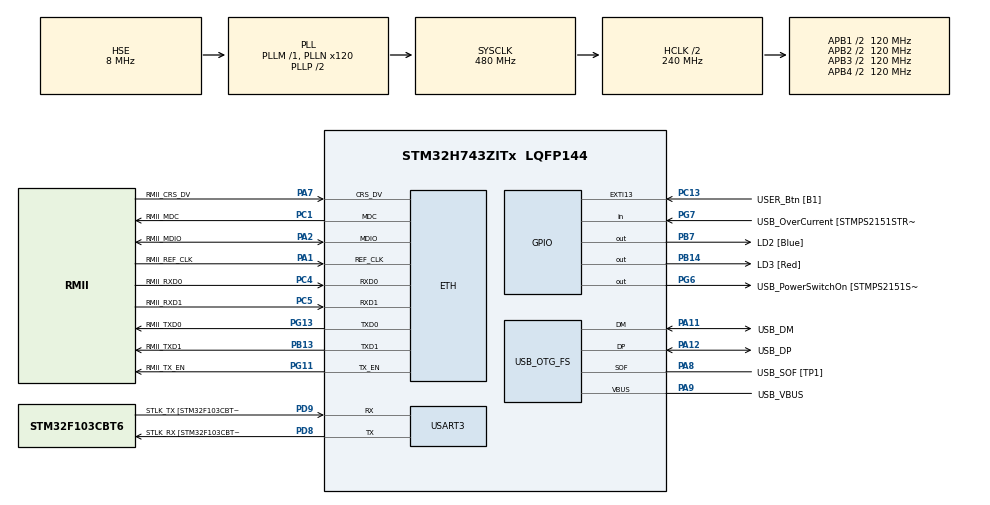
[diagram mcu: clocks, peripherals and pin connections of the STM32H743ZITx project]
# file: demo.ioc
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ARM.CMSIS.5.9.0.CMSISJjCORE=true
ARM.CMSIS.5.9.0.CMSISJjDSP=Source
ARM.CMSIS.5.9.0.CMSISJjNNOoLib=true
ETH.MediaInterface=HAL_ETH_RMII_MODE
Mcu.Family=STM32H7
Mcu.Name=STM32H743ZITx
Mcu.Package=LQFP144
NVIC.PriorityGroup=NVIC_PRIORITYGROUP_4
PA1.GPIO_Label=RMII_REF_CLK
PA1.Mode=RMII
PA1.Signal=ETH_REF_CLK
PA10.GPIO_Label=USB_ID
PA10.Signal=USB_OTG_FS_ID
PA11.GPIO_Label=USB_DM
PA11.Mode=Device_Only
PA11.Signal=USB_OTG_FS_DM
PA12.GPIO_Label=USB_DP
PA12.Mode=Device_Only
PA12.Signal=USB_OTG_FS_DP
PA13\ (JTMS/SWDIO).GPIO_Label=TMS
PA13\ (JTMS/SWDIO).Mode=Trace_Asynchronous_SW
PA13\ (JTMS/SWDIO).Signal=DEBUG_JTMS-SWDIO
PA14\ (JTCK/SWCLK).GPIO_Label=TCK
PA14\ (JTCK/SWCLK).Mode=Trace_Asynchronous_SW
PA14\ (JTCK/SWCLK).Signal=DEBUG_JTCK-SWCLK
PA2.GPIO_Label=RMII_MDIO
PA2.Mode=RMII
PA2.Signal=ETH_MDIO
PA7.GPIO_Label=RMII_CRS_DV
PA7.Mode=RMII
PA7.Signal=ETH_CRS_DV
PA8.GPIO_Label=USB_SOF [TP1]
PA8.Mode=Activate_SOF_FS
PA8.Signal=USB_OTG_FS_SOF
PA9.GPIO_Label=USB_VBUS
PA9.Mode=Activate_VBUS
PA9.Signal=USB_OTG_FS_VBUS
PB13.GPIO_Label=RMII_TXD1
PB13.Mode=RMII
PB13.Signal=ETH_TXD1
PB14.GPIO_Label=LD3 [Red]
PB14.Signal=GPIO_Output
PB3\ (JTDO/TRACESWO).GPIO_Label=SWO
PB3\ (JTDO/TRACESWO).Mode=Trace_Asynchronous_SW
PB3\ (JTDO/TRACESWO).Signal=DEBUG_JTDO-SWO
PB7.GPIO_Label=LD2 [Blue]
PB7.Signal=GPIO_Output
PC1.GPIO_Label=RMII_MDC
PC1.Mode=RMII
PC1.Signal=ETH_MDC
PC13.GPIO_Label=USER_Btn [B1]
PC13.Signal=GPXTI13
PC14-OSC32_IN\ (OSC32_IN).Mode=LSE-External-Oscillator
PC14-OSC32_IN\ (OSC32_IN).Signal=RCC_OSC32_IN
PC15-OSC32_OUT\ (OSC32_OUT).Mode=LSE-External-Oscillator
PC15-OSC32_OUT\ (OSC32_OUT).Signal=RCC_OSC32_OUT
PC4.GPIO_Label=RMII_RXD0
PC4.Mode=RMII
PC4.Signal=ETH_RXD0
PC5.GPIO_Label=RMII_RXD1
PC5.Mode=RMII
PC5.Signal=ETH_RXD1
PD8.GPIO_Label=STLK_RX [STM32F103CBT6_PA3]
PD8.Mode=Asynchronous
PD8.Signal=USART3_TX
PD9.GPIO_Label=STLK_TX [STM32F103CBT6_PA2]
PD9.Mode=Asynchronous
PD9.Signal=USART3_RX
PG11.GPIO_Label=RMII_TX_EN
PG11.Mode=RMII
PG11.Signal=ETH_TX_EN
PG13.GPIO_Label=RMII_TXD0
PG13.Mode=RMII
PG13.Signal=ETH_TXD0
PG6.GPIO_Label=USB_PowerSwitchOn [STMPS2151STR_EN]
PG6.Signal=GPIO_Output
PG7.GPIO_Label=USB_OverCurrent [STMPS2151STR_FAULT]
PG7.Signal=GPIO_Input
PH0-OSC_IN\ (PH0).GPIO_Label=MCO
PH0-OSC_IN\ (PH0).Mode=HSE-External-Oscillator
PH0-OSC_IN\ (PH0).Signal=RCC_OSC_IN
PH1-OSC_OUT\ (PH1).Mode=HSE-External-Oscillator
PH1-OSC_OUT\ (PH1).Signal=RCC_OSC_OUT
ProjectManager.HeapSize=0x200
ProjectManager.StackSize=0x400
ProjectManager.TargetToolchain=STM32CubeIDE
RCC.48MHZClocksFreq_Value=24000000
RCC.ADCFreq_Value=16125000
RCC.AHBFreq_Value=216000000
RCC.APB1CLKDivider=RCC_HCLK_DIV4
RCC.APB1Freq_Value=120000000
RCC.APB1TimFreq_Value=108000000
RCC.APB2CLKDivider=RCC_HCLK_DIV2
RCC.APB2Freq_Value=120000000
RCC.APB2TimFreq_Value=216000000
RCC.APB3Freq_Value=120000000
RCC.APB4Freq_Value=120000000
RCC.CortexFreq_Value=480000000
RCC.D1PPRE=RCC_APB3_DIV2
RCC.D2PPRE1=RCC_APB1_DIV2
RCC.D2PPRE2=RCC_APB2_DIV2
RCC.D3PPRE=RCC_APB4_DIV2
RCC.DIVM1=1
RCC.DIVN1=120
RCC.DIVQ1=15
RCC.HCLKFreq_Value=240000000
RCC.HPRE=RCC_HCLK_DIV2
RCC.HSE_VALUE=8000000
RCC.HSI_VALUE=64000000
RCC.PLLFRACN=0
RCC.PLLM=25
RCC.PLLMUL=RCC_PLL_MUL9
RCC.PLLN=432
RCC.PLLQ=9
RCC.PRESCALERUSB=RCC_USBCLKSOURCE_PLL_DIV1_5
RCC.PWR_Regulator_Voltage_Scale=PWR_REGULATOR_VOLTAGE_SCALE0
RCC.SYSCLKFreq_VALUE=480000000
RCC.SYSCLKSource=RCC_SYSCLKSOURCE_PLLCLK
RCC.SYSCLKSourceVirtual=RCC_SYSCLKSOURCE_PLLCLK
RCC.USBFreq_Value=64000000
RCC.VCOOutputFreq_Value=432000000
USART3.VirtualMode-Asynchronous=VM_ASYNC
USB_OTG_FS.VirtualMode=Device_Only
VP_ARM.CMSIS_VS_CMSISJjCORE_5.6.0_5.9.0.Mode=CMSISJjCORE
VP_ARM.CMSIS_VS_CMSISJjDSP_1.10.0_5.9.0.Mode=CMSISJjDSP
VP_ARM.CMSIS_VS_CMSISJjNNOoLib_3.1.0_5.9.0.Mode=CMSISJjNNOoLib
VP_MEMORYMAP_VS_MEMORYMAP.Mode=CurAppReg
board=NUCLEO-H743ZI

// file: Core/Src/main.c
/* USER CODE BEGIN Header */
/**
  ******************************************************************************
  * @file           : main.c
  * @brief          : Main program body
  ******************************************************************************
  * @attention
  *
  * <h2><center>&copy; Copyright (c) 2024 STMicroelectronics.
  * All rights reserved.</center></h2>
  *
  * This software component is licensed by ST under BSD 3-Clause license,
  * the "License"; You may not use this file except in compliance with the
  * License. You may obtain a copy of the License at:
  *                        opensource.org/licenses/BSD-3-Clause
  *
  ******************************************************************************
  */
/* USER CODE END Header */
#include "main.h"
#include "string.h"

/* USER CODE BEGIN Includes */
#include <assert.h>
#include <stdio.h>
#include "arm_math.h"
#include "arm_nnfunctions.h"
#include "intq-mobilenet-v1.h"
/* USER CODE END Includes */

/* USER CODE BEGIN PD */
//Layer 1	Conv / s2
static const uint8_t conv1_wt[CONV1_KER_DIM * CONV1_KER_DIM * CONV1_IM_CH * CONV1_OUT_CH] = CONV1_WT;
static const int32_t conv1_bias[CONV1_OUT_CH] = CONV1_BIAS;

//Layer 2	Conv dw/ s1
static const uint8_t conv2_wt[CONV2_KER_DIM * CONV2_KER_DIM * 1 * CONV2_OUT_CH] = CONV2_WT;
static const int32_t conv2_bias[CONV2_OUT_CH] = CONV2_BIAS;

//Layer 3	Conv Point/ s1
static const uint8_t conv3_wt[CONV3_KER_DIM * CONV3_KER_DIM * CONV3_IM_CH * CONV3_OUT_CH] = CONV3_WT;
static const int32_t conv3_bias[CONV3_OUT_CH] = CONV3_BIAS;

//Layer 4	Conv dw/ s2
static const uint8_t conv4_wt[CONV4_KER_DIM * CONV4_KER_DIM * 1 * CONV4_OUT_CH] = CONV4_WT;
static const int32_t conv4_bias[ CONV4_OUT_CH] = CONV4_BIAS;

//Layer 5	Conv Point/ s1
static const uint8_t conv5_wt[CONV5_KER_DIM * CONV5_KER_DIM * CONV5_IM_CH * CONV5_OUT_CH] = CONV5_WT;
static const int32_t conv5_bias[CONV5_OUT_CH] = CONV5_BIAS;

//Layer 6	Conv dw/ s1
static const uint8_t conv6_wt[CONV6_KER_DIM * CONV6_KER_DIM * 1 * CONV6_OUT_CH] = CONV6_WT;
static const int32_t conv6_bias[CONV6_OUT_CH] = CONV6_BIAS;

//Layer 7	Conv Point/ s1
static const uint8_t conv7_wt[CONV7_KER_DIM * CONV7_KER_DIM * CONV7_IM_CH * CONV7_OUT_CH] = CONV7_WT;
static const int32_t conv7_bias[CONV7_OUT_CH] = CONV7_BIAS;

//Layer 8	Conv dw/ s2
static const uint8_t conv8_wt[CONV8_KER_DIM * CONV8_KER_DIM * 1 * CONV8_OUT_CH] = CONV8_WT;
static const int32_t conv8_bias[CONV8_OUT_CH] = CONV8_BIAS;

//Layer 9	Conv Point/ s1
static const uint8_t conv9_wt[CONV9_KER_DIM * CONV9_KER_DIM * CONV9_IM_CH * CONV9_OUT_CH] = CONV9_WT;
static const int32_t conv9_bias[CONV9_OUT_CH] = CONV9_BIAS;

//Layer 10	Conv dw/ s1
static const uint8_t conv10_wt[CONV10_KER_DIM * CONV10_KER_DIM * 1 * CONV10_OUT_CH] = CONV10_WT;
static const int32_t conv10_bias[CONV10_OUT_CH] = CONV10_BIAS;

//Layer 11	Conv Point/ s1
static const uint8_t conv11_wt[CONV11_KER_DIM * CONV11_KER_DIM * CONV11_IM_CH * CONV11_OUT_CH] = CONV11_WT;
static const int32_t conv11_bias[CONV11_OUT_CH] = CONV11_BIAS;

//Layer 12	Conv dw/ s2
static const uint8_t conv12_wt[CONV12_KER_DIM * CONV12_KER_DIM * 1 * CONV12_OUT_CH] = CONV12_WT;
static const int32_t conv12_bias[CONV12_OUT_CH] = CONV12_BIAS;

//Layer 13	Conv Point/ s1
static const uint8_t conv13_wt[CONV13_KER_DIM * CONV13_KER_DIM * CONV13_IM_CH * CONV13_OUT_CH] = CONV13_WT;
static const int32_t conv13_bias[CONV13_OUT_CH] = CONV13_BIAS;

//Layer 14	Conv dw/ s1
static const uint8_t conv14_wt[CONV14_KER_DIM * CONV14_KER_DIM * 1 * CONV14_OUT_CH] = CONV14_WT;
static const int32_t conv14_bias[CONV14_OUT_CH] = CONV14_BIAS;

//Layer 15	Conv Point/ s1
static const uint8_t conv15_wt[CONV15_KER_DIM * CONV15_KER_DIM * CONV15_IM_CH * CONV15_OUT_CH] = CONV15_WT;
static const int32_t conv15_bias[CONV15_OUT_CH] = CONV15_BIAS;

//Layer 16	Conv dw/ s1
static const uint8_t conv16_wt[CONV16_KER_DIM * CONV16_KER_DIM * 1 * CONV16_OUT_CH] = CONV16_WT;
static const int32_t conv16_bias[CONV16_OUT_CH] = CONV16_BIAS;

//Layer 17	Conv Point/ s1
static const uint8_t conv17_wt[CONV17_KER_DIM * CONV17_KER_DIM * CONV17_IM_CH * CONV17_OUT_CH] = CONV17_WT;
static const int32_t conv17_bias[CONV17_OUT_CH] = CONV17_BIAS;

//Layer 18	Conv dw/ s1
static const uint8_t conv18_wt[CONV18_KER_DIM * CONV18_KER_DIM * 1 * CONV18_OUT_CH] = CONV18_WT;
static const int32_t conv18_bias[CONV18_OUT_CH] = CONV18_BIAS;

//Layer 19	Conv Point/ s1
static const uint8_t conv19_wt[CONV19_KER_DIM * CONV19_KER_DIM * CONV19_IM_CH * CONV19_OUT_CH] = CONV19_WT;
static const int32_t conv19_bias[CONV19_OUT_CH] = CONV19_BIAS;

//Layer 20	Conv dw/ s1
static const uint8_t conv20_wt[CONV20_KER_DIM * CONV20_KER_DIM * 1 * CONV20_OUT_CH] = CONV20_WT;
static const int32_t conv20_bias[CONV20_OUT_CH] = CONV20_BIAS;

//Layer 21	Conv Point/ s1
static const uint8_t conv21_wt[CONV21_KER_DIM * CONV21_KER_DIM * CONV21_IM_CH * CONV21_OUT_CH] = CONV21_WT;
static const int32_t conv21_bias[CONV21_OUT_CH] = CONV21_BIAS;

//Layer 22	Conv dw/ s1
static const uint8_t conv22_wt[CONV22_KER_DIM * CONV22_KER_DIM * 1 * CONV22_OUT_CH] = CONV22_WT;
static const int32_t conv22_bias[CONV22_OUT_CH] = CONV22_BIAS;

//Layer 23	Conv Point/ s1
static const uint8_t conv23_wt[CONV23_KER_DIM * CONV23_KER_DIM * CONV23_IM_CH * CONV23_OUT_CH] = CONV23_WT;
static const int32_t conv23_bias[CONV23_OUT_CH] = CONV23_BIAS;

//Layer 24	Conv dw/ s2
static const uint8_t conv24_wt[CONV24_KER_DIM * CONV24_KER_DIM * 1 * CONV24_OUT_CH] = CONV24_WT;
static const int32_t conv24_bias[CONV24_OUT_CH] = CONV24_BIAS;

//Layer 25	Conv Point/ s1
static const uint8_t conv25_wt[CONV25_KER_DIM * CONV25_KER_DIM * CONV25_IM_CH * CONV25_OUT_CH] = CONV25_WT;
static const int32_t conv25_bias[CONV25_OUT_CH] = CONV25_BIAS;

//Layer 26	Conv dw/ s1
static const uint8_t conv26_wt[CONV26_KER_DIM * CONV26_KER_DIM * 1 * CONV26_OUT_CH] = CONV26_WT;
static const int32_t conv26_bias[CONV26_OUT_CH] = CONV26_BIAS;

//Layer 27	Conv Point/ s1
static const uint8_t conv27_wt[CONV27_KER_DIM * CONV27_KER_DIM * CONV27_IM_CH * CONV27_OUT_CH] = CONV27_WT;
static const int32_t conv27_bias[CONV27_OUT_CH] = CONV27_BIAS;

//Layer 29 fully connected/ s1
static const uint8_t fc28_wt[FC28_IM_CH*FC28_OUT_CH] = FC28_WT;
static const int32_t fc28_bias[FC28_OUT_CH] = FC28_BIAS;

// Input / Output
#include "160_input_image.h"
static const uint8_t image_data[CONV1_IM_CH * CONV1_IM_DIM * CONV1_IM_DIM] = INPUT_IMAGE;
//uint8_t output_data[IP1_OUT] = {0};

// Tensors Scratch
#define L2_TENSOR_IO_SIZE   (153600)

#define L1_TENSOR_SIZE      (4608)
uint8_t  __attribute__((section (".L2RAM"))) l2_tensor_scratch[L2_TENSOR_IO_SIZE];
int16_t                                      l1_tensor_scratch[L1_TENSOR_SIZE];

void SystemClock_Config(void);

/******** Cycle counter defines  **********/
#define MOBILENET_PROFILE 1
volatile unsigned int cpu_cycles[30];
volatile unsigned int *DWT_CYCCNT = (volatile unsigned int *)0xE0001004; 	// Cycle Counter Register
volatile unsigned int *DWT_CONTROL= (volatile unsigned int *)0xE0001000;	// Counter Control Register
volatile unsigned int *SCB_DEMCR  = (volatile unsigned int *)0xE000EDFC;

#if MOBILENET_PROFILE
#define USR_MEM_BARRIER() \
	do { \
		asm volatile("" ::: "memory");\
	} while (0)

#define USR_CC_ENABLE() \
  do { \
	asm volatile("" ::: "memory"); \
	*SCB_DEMCR = *SCB_DEMCR | 0x01000000;\
	*DWT_CYCCNT = 0; \
	*DWT_CONTROL = *DWT_CONTROL | 1; \
	asm volatile("" ::: "memory"); \
  } while (0)

#define USR_CC_RESET() \
  do { \
	asm volatile("" ::: "memory"); \
	*DWT_CYCCNT = 0; \
	asm volatile("" ::: "memory"); \
  } while (0)

#define USR_GET_CC_TIMESTAMP(x) \
  do { \
	asm volatile("" ::: "memory"); \
	x = (*(volatile unsigned int *) DWT_CYCCNT); \
	asm volatile("" ::: "memory"); \
  } while (0)
#else
#define USR_MEM_BARRIER()
#define USR_CC_ENABLE()
#define USR_CC_RESET()
#define USR_GET_CC_TIMESTAMP(x)
#endif

#define MOBILENET_CHECKSUM 0
#if MOBILENET_CHECKSUM
volatile unsigned int checksums[30];
#define USR_CHECKSUM(x,nb_elements,id) \
  do { \
	asm volatile("" ::: "memory"); \
	checksums[id] = 0; \
	for(int i=0; i< nb_elements;i++) \
		checksums[id]+=x[i]; \
	asm volatile("" ::: "memory"); \
  } while (0)
#else
#define USR_CHECKSUM(x,nb_elements,id)
#endif

/* USER CODE END PD */

#if defined ( __ICCARM__ ) /*!< IAR Compiler */
#pragma location=0x30000000
ETH_DMADescTypeDef  DMARxDscrTab[ETH_RX_DESC_CNT]; /* Ethernet Rx DMA Descriptors */
#pragma location=0x30000080
ETH_DMADescTypeDef  DMATxDscrTab[ETH_TX_DESC_CNT]; /* Ethernet Tx DMA Descriptors */

#elif defined ( __CC_ARM )  /* MDK ARM Compiler */

__attribute__((at(0x30000000))) ETH_DMADescTypeDef  DMARxDscrTab[ETH_RX_DESC_CNT]; /* Ethernet Rx DMA Descriptors */
__attribute__((at(0x30000080))) ETH_DMADescTypeDef  DMATxDscrTab[ETH_TX_DESC_CNT]; /* Ethernet Tx DMA Descriptors */

#elif defined ( __GNUC__ ) /* GNU Compiler */

ETH_DMADescTypeDef DMARxDscrTab[ETH_RX_DESC_CNT] __attribute__((section(".RxDecripSection"))); /* Ethernet Rx DMA Descriptors */
ETH_DMADescTypeDef DMATxDscrTab[ETH_TX_DESC_CNT] __attribute__((section(".TxDecripSection")));   /* Ethernet Tx DMA Descriptors */
#endif

ETH_TxPacketConfig TxConfig;

ETH_HandleTypeDef heth;

UART_HandleTypeDef huart3;

PCD_HandleTypeDef hpcd_USB_OTG_FS;

void SystemClock_Config(void);
static void MX_GPIO_Init(void);
static void MX_ETH_Init(void);
static void MX_USART3_UART_Init(void);
static void MX_USB_OTG_FS_PCD_Init(void);
/* USER CODE BEGIN PFP */
/* Retarget printf to UART */
#ifdef __GNUC__
/* With GCC/RAISONANCE, small printf (option LD Linker->Libraries->Small printf
   set to 'Yes') calls __io_putchar() */
int __io_putchar(int ch)
{
    HAL_UART_Transmit(&huart3, (uint8_t *)&ch, 1, HAL_MAX_DELAY);
    return ch;
}
#else
int fputc(int ch, FILE *f)
{
    HAL_UART_Transmit(&huart3, (uint8_t *)&ch, 1, HAL_MAX_DELAY);
    return ch;
}
#endif /* __GNUC__ */
/* USER CODE END PFP */

int main(void)
{

  /* USER CODE BEGIN 1 */
	SCB_EnableICache(); //Enable I-Cache
	SCB_EnableDCache(); //Enable D-Cache
  /* USER CODE END 1 */

  /* MCU Configuration--------------------------------------------------------*/

  /* Reset of all peripherals, Initializes the Flash interface and the Systick. */
  HAL_Init();

  /* Configure the system clock */
  SystemClock_Config();

  /* Initialize all configured peripherals */
  MX_GPIO_Init();
  MX_ETH_Init();
  MX_USART3_UART_Init();
  MX_USB_OTG_FS_PCD_Init();

  /* Infinite loop */
  while (1)
  {

    /* USER CODE BEGIN 3 */
//		int 	layerId = 0;
//			int 	tensorId = 0;
//			uint8_t *tensorIn  = l2_tensor_scratch;
//			uint8_t *tensorOut = l2_tensor_scratch + L2_TENSOR_IO_SIZE - (CONV1_OUT_DIM*CONV1_OUT_DIM*CONV1_OUT_CH);
//
//			/*Layer 1	Conv / s2
//			*Convolutional
//			*Cycle =c
//			*/
//			USR_CC_ENABLE();
//			USR_CC_RESET();
//			arm_convolve_HWC_asym_uint8(image_data, CONV1_IM_DIM, CONV1_IM_CH,
//									  conv1_wt, CONV1_W_Z, CONV1_IN_Z, CONV1_OUT_Z, CONV1_M_ZERO, CONV1_N_ZERO,
//									  CONV1_OUT_CH, CONV1_KER_DIM,
//									  CONV1_L_PADDING, CONV1_R_PADDING, CONV1_T_PADDING, CONV1_B_PADDING, CONV1_STRIDE, conv1_bias,
//									  tensorOut, CONV1_OUT_DIM, l1_tensor_scratch, NULL);
//			USR_GET_CC_TIMESTAMP(cpu_cycles[layerId]);
//			USR_CHECKSUM(tensorOut,CONV1_IM_CH * CONV1_IM_DIM * CONV1_IM_DIM,layerId); layerId++;
//
//			tensorIn  = tensorOut;
//			if (!tensorId)
//				tensorOut = l2_tensor_scratch;
//			else
//				tensorOut = l2_tensor_scratch + L2_TENSOR_IO_SIZE - (CONV2_OUT_DIM*CONV2_OUT_DIM*CONV2_OUT_CH);
//			tensorId = !tensorId;
//
//			/*Layer 2	Conv dw/ s1
//			*dephtwise
//			*Cycle =
//			*/
//			arm_depthwise_separable_conv_HWC_asym_uint8(tensorIn, CONV2_IM_DIM, CONV2_IM_CH,
//									  conv2_wt, CONV2_W_Z, CONV2_IN_Z, CONV2_OUT_Z, CONV2_M_ZERO, CONV2_N_ZERO,
//									  CONV2_OUT_CH, CONV2_KER_DIM,
//									  CONV2_L_PADDING, CONV2_R_PADDING, CONV2_T_PADDING, CONV2_B_PADDING, CONV2_STRIDE, conv2_bias,
//									  tensorOut, CONV2_OUT_DIM, l1_tensor_scratch, NULL);
//			USR_GET_CC_TIMESTAMP(cpu_cycles[layerId]);
//			USR_CHECKSUM(tensorOut,CONV2_OUT_DIM*CONV2_OUT_DIM*CONV2_OUT_CH,layerId); layerId++;
//
//			tensorIn  = tensorOut;
//			if (!tensorId)
//				tensorOut = l2_tensor_scratch;
//			else
//				tensorOut = l2_tensor_scratch + L2_TENSOR_IO_SIZE - (CONV3_OUT_DIM*CONV3_OUT_DIM*CONV3_OUT_CH);
//			tensorId = !tensorId;
//
//			/*Layer 3	Conv Point/ s1
//			*pointwise
//			*Cycle =
//			*/
//			arm_convolve_HWC_asym_uint8(tensorIn, CONV3_IM_DIM, CONV3_IM_CH,
//									  conv3_wt, CONV3_W_Z, CONV3_IN_Z, CONV3_OUT_Z, CONV3_M_ZERO, CONV3_N_ZERO,
//									  CONV3_OUT_CH, CONV3_KER_DIM,
//									  CONV3_L_PADDING, CONV3_R_PADDING, CONV3_T_PADDING, CONV3_B_PADDING, CONV3_STRIDE, conv3_bias,
//									  tensorOut, CONV3_OUT_DIM, l1_tensor_scratch, NULL);
//
//			USR_GET_CC_TIMESTAMP(cpu_cycles[layerId]);
//			USR_CHECKSUM(tensorOut,CONV3_OUT_DIM*CONV3_OUT_DIM*CONV3_OUT_CH,layerId); layerId++;
//
//			tensorIn  = tensorOut;
//			if (!tensorId)
//				tensorOut = l2_tensor_scratch;
//			else
//				tensorOut = l2_tensor_scratch + L2_TENSOR_IO_SIZE - (CONV4_OUT_DIM*CONV4_OUT_DIM*CONV4_OUT_CH);
//			tensorId = !tensorId;
//
//			/*Layer 4	Conv dw/ s2
//			*dephtwise
//			*Cycle =
//			*/
//			arm_depthwise_separable_conv_HWC_asym_uint8(tensorIn, CONV4_IM_DIM, CONV4_IM_CH,
//									  conv4_wt, CONV4_W_Z, CONV4_IN_Z, CONV4_OUT_Z, CONV4_M_ZERO, CONV4_N_ZERO,
//									  CONV4_OUT_CH, CONV4_KER_DIM,
//									  CONV4_L_PADDING, CONV4_R_PADDING, CONV4_T_PADDING, CONV4_B_PADDING, CONV4_STRIDE, conv4_bias,
//									  tensorOut, CONV4_OUT_DIM, l1_tensor_scratch, NULL);
//
//			USR_GET_CC_TIMESTAMP(cpu_cycles[layerId]);
//			USR_CHECKSUM(tensorOut,CONV4_OUT_DIM*CONV4_OUT_DIM*CONV4_OUT_CH,layerId); layerId++;
//
//			tensorIn  = tensorOut;
//			if (!tensorId)
//				tensorOut = l2_tensor_scratch;
//			else
//				tensorOut = l2_tensor_scratch + L2_TENSOR_IO_SIZE - (CONV5_OUT_DIM*CONV5_OUT_DIM*CONV5_OUT_CH);
//			tensorId = !tensorId;
//
//			/*Layer 5	Conv Point/ s1
//			*pointwise
//			*Cycle =
//			*/
//			arm_convolve_HWC_asym_uint8(tensorIn, CONV5_IM_DIM, CONV5_IM_CH,
//									  conv5_wt, CONV5_W_Z, CONV5_IN_Z, CONV5_OUT_Z, CONV5_M_ZERO, CONV5_N_ZERO,
//									  CONV5_OUT_CH, CONV5_KER_DIM,
//									  CONV5_L_PADDING, CONV5_R_PADDING, CONV5_T_PADDING, CONV5_B_PADDING, CONV5_STRIDE, conv5_bias,
//									  tensorOut, CONV5_OUT_DIM, l1_tensor_scratch, NULL);
//
//			USR_GET_CC_TIMESTAMP(cpu_cycles[layerId]);
//			USR_CHECKSUM(tensorOut,CONV5_OUT_DIM*CONV5_OUT_DIM*CONV5_OUT_CH,layerId); layerId++;
//
//			tensorIn  = tensorOut;
//			if (!tensorId)
//				tensorOut = l2_tensor_scratch;
//			else
//				tensorOut = l2_tensor_scratch + L2_TENSOR_IO_SIZE - (CONV6_OUT_DIM*CONV6_OUT_DIM*CONV6_OUT_CH);
//			tensorId = !tensorId;
//
//			/*Layer 6	Conv dw/ s1
//			*dephtwise
//			*Cycle =
//			*/
//			arm_depthwise_separable_conv_HWC_asym_uint8(tensorIn, CONV6_IM_DIM, CONV6_IM_CH,
//									  conv6_wt, CONV6_W_Z, CONV6_IN_Z, CONV6_OUT_Z, CONV6_M_ZERO, CONV6_N_ZERO,
//									  CONV6_OUT_CH, CONV6_KER_DIM,
//									  CONV6_L_PADDING, CONV6_R_PADDING, CONV6_T_PADDING, CONV6_B_PADDING, CONV6_STRIDE, conv6_bias,
//									  tensorOut, CONV6_OUT_DIM, l1_tensor_scratch, NULL);
//
//			USR_GET_CC_TIMESTAMP(cpu_cycles[layerId]);
//			USR_CHECKSUM(tensorOut,CONV6_OUT_DIM*CONV6_OUT_DIM*CONV6_OUT_CH,layerId); layerId++;
//
//			tensorIn  = tensorOut;
//			if (!tensorId)
//				tensorOut = l2_tensor_scratch;
//			else
//				tensorOut = l2_tensor_scratch + L2_TENSOR_IO_SIZE - (CONV7_OUT_DIM*CONV7_OUT_DIM*CONV7_OUT_CH);
//			tensorId = !tensorId;
//
//			/*Layer 7	Conv Point/ s1
//			*pointwise
//			*Cycle =
//			*/
//			arm_convolve_HWC_asym_uint8(tensorIn, CONV7_IM_DIM, CONV7_IM_CH,
//									  conv7_wt, CONV7_W_Z, CONV7_IN_Z, CONV7_OUT_Z, CONV7_M_ZERO, CONV7_N_ZERO,
//									  CONV7_OUT_CH, CONV7_KER_DIM,
//									  CONV7_L_PADDING, CONV7_R_PADDING, CONV7_T_PADDING, CONV7_B_PADDING, CONV7_STRIDE, conv7_bias,
//									  tensorOut, CONV7_OUT_DIM, l1_tensor_scratch, NULL);
//
//			USR_GET_CC_TIMESTAMP(cpu_cycles[layerId]);
//			USR_CHECKSUM(tensorOut,CONV7_OUT_DIM*CONV7_OUT_DIM*CONV7_OUT_CH,layerId); layerId++;
//
//			tensorIn  = tensorOut;
//			if (!tensorId)
//				tensorOut = l2_tensor_scratch;
//			else
//				tensorOut = l2_tensor_scratch + L2_TENSOR_IO_SIZE - (CONV8_OUT_DIM*CONV8_OUT_DIM*CONV8_OUT_CH);
//			tensorId = !tensorId;
//
//			/*Layer 8	Conv dw/ s2
//			*dephtwise
//			*Cycle =
//			*/
//			arm_depthwise_separable_conv_HWC_asym_uint8(tensorIn, CONV8_IM_DIM, CONV8_IM_CH,
//									  conv8_wt, CONV8_W_Z, CONV8_IN_Z, CONV8_OUT_Z, CONV8_M_ZERO, CONV8_N_ZERO,
//									  CONV8_OUT_CH, CONV8_KER_DIM,
//									  CONV8_L_PADDING, CONV8_R_PADDING, CONV8_T_PADDING, CONV8_B_PADDING, CONV8_STRIDE, conv8_bias,
//									  tensorOut, CONV8_OUT_DIM, l1_tensor_scratch, NULL);
//
//			USR_GET_CC_TIMESTAMP(cpu_cycles[layerId]);
//			USR_CHECKSUM(tensorOut,CONV8_OUT_DIM*CONV8_OUT_DIM*CONV8_OUT_CH,layerId); layerId++;
//
//			tensorIn  = tensorOut;
//			if (!tensorId)
//				tensorOut = l2_tensor_scratch;
//			else
//				tensorOut = l2_tensor_scratch + L2_TENSOR_IO_SIZE - (CONV9_OUT_DIM*CONV9_OUT_DIM*CONV9_OUT_CH);
//			tensorId = !tensorId;
//
//			/*Layer 9	Conv Point/ s1
//			*pointwise
//			*Cycle =
//			*/
//			arm_convolve_HWC_asym_uint8(tensorIn, CONV9_IM_DIM, CONV9_IM_CH,
//									  conv9_wt, CONV9_W_Z, CONV9_IN_Z, CONV9_OUT_Z, CONV9_M_ZERO, CONV9_N_ZERO,
//									  CONV9_OUT_CH, CONV9_KER_DIM,
//									  CONV9_L_PADDING, CONV9_R_PADDING, CONV9_T_PADDING, CONV9_B_PADDING, CONV9_STRIDE, conv9_bias,
//									  tensorOut, CONV9_OUT_DIM, l1_tensor_scratch, NULL);
//
//			USR_GET_CC_TIMESTAMP(cpu_cycles[layerId]);
//			USR_CHECKSUM(tensorOut,CONV9_OUT_DIM*CONV9_OUT_DIM*CONV9_OUT_CH,layerId); layerId++;
//
//			tensorIn  = tensorOut;
//			if (!tensorId)
//				tensorOut = l2_tensor_scratch;
//			else
//				tensorOut = l2_tensor_scratch + L2_TENSOR_IO_SIZE - (CONV10_OUT_DIM*CONV10_OUT_DIM*CONV10_OUT_CH);
//			tensorId = !tensorId;
//
//			/*Layer 10	Conv dw/ s1
//			*dephtwise
//			*Cycle =
//			*/
//			arm_depthwise_separable_conv_HWC_asym_uint8(tensorIn, CONV10_IM_DIM, CONV10_IM_CH,
//									  conv10_wt, CONV10_W_Z, CONV10_IN_Z, CONV10_OUT_Z, CONV10_M_ZERO, CONV10_N_ZERO,
//									  CONV10_OUT_CH, CONV10_KER_DIM,
//									  CONV10_L_PADDING, CONV10_R_PADDING, CONV10_T_PADDING, CONV10_B_PADDING, CONV10_STRIDE, conv10_bias,
//									  tensorOut, CONV10_OUT_DIM, l1_tensor_scratch, NULL);
//
//			USR_GET_CC_TIMESTAMP(cpu_cycles[layerId]);
//			USR_CHECKSUM(tensorOut,CONV10_OUT_DIM*CONV10_OUT_DIM*CONV10_OUT_CH,layerId); layerId++;
//
//			tensorIn  = tensorOut;
//			if (!tensorId)
//				tensorOut = l2_tensor_scratch;
//			else
//				tensorOut = l2_tensor_scratch + L2_TENSOR_IO_SIZE - (CONV11_OUT_DIM*CONV11_OUT_DIM*CONV11_OUT_CH);
//			tensorId = !tensorId;
//
//			/*Layer 11	Conv Point/ s1
//			*pointwise
//			*Cycle =
//			*/
//			arm_convolve_HWC_asym_uint8(tensorIn, CONV11_IM_DIM, CONV11_IM_CH,
//										  conv11_wt, CONV11_W_Z, CONV11_IN_Z, CONV11_OUT_Z, CONV11_M_ZERO, CONV11_N_ZERO,
//										  CONV11_OUT_CH, CONV11_KER_DIM,
//										  CONV11_L_PADDING, CONV11_R_PADDING, CONV11_T_PADDING, CONV11_B_PADDING, CONV11_STRIDE, conv11_bias,
//										  tensorOut, CONV11_OUT_DIM, l1_tensor_scratch, NULL);
//
//			USR_GET_CC_TIMESTAMP(cpu_cycles[layerId]);
//			USR_CHECKSUM(tensorOut,CONV11_OUT_DIM*CONV11_OUT_DIM*CONV11_OUT_CH,layerId); layerId++;
//
//			tensorIn  = tensorOut;
//			if (!tensorId)
//				tensorOut = l2_tensor_scratch;
//			else
//				tensorOut = l2_tensor_scratch + L2_TENSOR_IO_SIZE - (CONV12_OUT_DIM*CONV12_OUT_DIM*CONV12_OUT_CH);
//			tensorId = !tensorId;
//
//			/*Layer 12	Conv dw/ s2
//			*dephtwise
//			*Cycle =
//			*/
//			arm_depthwise_separable_conv_HWC_asym_uint8(tensorIn, CONV12_IM_DIM, CONV12_IM_CH,
//										  conv12_wt, CONV12_W_Z, CONV12_IN_Z, CONV12_OUT_Z, CONV12_M_ZERO, CONV12_N_ZERO,
//										  CONV12_OUT_CH, CONV12_KER_DIM,
//										  CONV12_L_PADDING, CONV12_R_PADDING, CONV12_T_PADDING, CONV12_B_PADDING, CONV12_STRIDE, conv12_bias,
//										  tensorOut, CONV12_OUT_DIM, l1_tensor_scratch, NULL);
//
//			USR_GET_CC_TIMESTAMP(cpu_cycles[layerId]);
//			USR_CHECKSUM(tensorOut,CONV12_OUT_DIM*CONV12_OUT_DIM*CONV12_OUT_CH,layerId); layerId++;
//
//			tensorIn  = tensorOut;
//			if (!tensorId)
//				tensorOut = l2_tensor_scratch;
//			else
//				tensorOut = l2_tensor_scratch + L2_TENSOR_IO_SIZE - (CONV13_OUT_DIM*CONV13_OUT_DIM*CONV13_OUT_CH);
//			tensorId = !tensorId;
//
//			/*Layer 13	Conv Point/ s1
//			*pointwise
//			*Cycle =
//			*/
//			arm_convolve_HWC_asym_uint8(tensorIn, CONV13_IM_DIM, CONV13_IM_CH,
//										  conv13_wt, CONV13_W_Z, CONV13_IN_Z, CONV13_OUT_Z, CONV13_M_ZERO, CONV13_N_ZERO,
//										  CONV13_OUT_CH, CONV13_KER_DIM,
//										  CONV13_L_PADDING, CONV13_R_PADDING, CONV13_T_PADDING, CONV13_B_PADDING, CONV13_STRIDE, conv13_bias,
//										  tensorOut, CONV13_OUT_DIM, l1_tensor_scratch, NULL);
//
//			USR_GET_CC_TIMESTAMP(cpu_cycles[layerId]);
//			USR_CHECKSUM(tensorOut,CONV13_OUT_DIM*CONV13_OUT_DIM*CONV13_OUT_CH,layerId); layerId++;
//
//			tensorIn  = tensorOut;
//			if (!tensorId)
//				tensorOut = l2_tensor_scratch;
//			else
//				tensorOut = l2_tensor_scratch + L2_TENSOR_IO_SIZE - (CONV14_OUT_DIM*CONV14_OUT_DIM*CONV14_OUT_CH);
//			tensorId = !tensorId;
//
//			/*Layer 14	Conv dw/ s1
//			*dephtwise
//			*Cycle =
//			*/
//			arm_depthwise_separable_conv_HWC_asym_uint8(tensorIn, CONV14_IM_DIM, CONV14_IM_CH,
//										  conv14_wt, CONV14_W_Z, CONV14_IN_Z, CONV14_OUT_Z, CONV14_M_ZERO, CONV14_N_ZERO,
//										  CONV14_OUT_CH, CONV14_KER_DIM,
//										  CONV14_L_PADDING, CONV14_R_PADDING, CONV14_T_PADDING, CONV14_B_PADDING, CONV14_STRIDE, conv14_bias,
//										  tensorOut, CONV14_OUT_DIM, l1_tensor_scratch, NULL);
//
//			USR_GET_CC_TIMESTAMP(cpu_cycles[layerId]);
//			USR_CHECKSUM(tensorOut,CONV14_OUT_DIM*CONV14_OUT_DIM*CONV14_OUT_CH,layerId); layerId++;
//
//			tensorIn  = tensorOut;
//			if (!tensorId)
//				tensorOut = l2_tensor_scratch;
//			else
//				tensorOut = l2_tensor_scratch + L2_TENSOR_IO_SIZE - (CONV15_OUT_DIM*CONV15_OUT_DIM*CONV15_OUT_CH);
//			tensorId = !tensorId;
//
//			/*Layer 15	Conv Point/ s1
//			*pointwise
//			*Cycle =
//			*/
//			arm_convolve_HWC_asym_uint8(tensorIn, CONV15_IM_DIM, CONV15_IM_CH,
//										  conv15_wt, CONV15_W_Z, CONV15_IN_Z, CONV15_OUT_Z, CONV15_M_ZERO, CONV15_N_ZERO,
//										  CONV15_OUT_CH, CONV15_KER_DIM,
//										  CONV15_L_PADDING, CONV15_R_PADDING, CONV15_T_PADDING, CONV15_B_PADDING, CONV15_STRIDE, conv15_bias,
//										  tensorOut, CONV15_OUT_DIM, l1_tensor_scratch, NULL);
//
//			USR_GET_CC_TIMESTAMP(cpu_cycles[layerId]);
//			USR_CHECKSUM(tensorOut,CONV15_OUT_DIM*CONV15_OUT_DIM*CONV15_OUT_CH,layerId); layerId++;
//
//			tensorIn  = tensorOut;
//			if (!tensorId)
//				tensorOut = l2_tensor_scratch;
//			else
//				tensorOut = l2_tensor_scratch + L2_TENSOR_IO_SIZE - (CONV16_OUT_DIM*CONV16_OUT_DIM*CONV16_OUT_CH);
//			tensorId = !tensorId;
//
//			/*Layer 16	Conv dw/ s1
//			*dephtwise
//			*Cycle =
//			*/
//			arm_depthwise_separable_conv_HWC_asym_uint8(tensorIn, CONV16_IM_DIM, CONV16_IM_CH,
//										  conv16_wt, CONV16_W_Z, CONV16_IN_Z, CONV16_OUT_Z, CONV16_M_ZERO, CONV16_N_ZERO,
//										  CONV16_OUT_CH, CONV16_KER_DIM,
//										  CONV16_L_PADDING, CONV16_R_PADDING, CONV16_T_PADDING, CONV16_B_PADDING, CONV16_STRIDE, conv16_bias,
//										  tensorOut, CONV16_OUT_DIM, l1_tensor_scratch, NULL);
//
//			USR_GET_CC_TIMESTAMP(cpu_cycles[layerId]);
//			USR_CHECKSUM(tensorOut,CONV16_OUT_DIM*CONV16_OUT_DIM*CONV16_OUT_CH,layerId); layerId++;
//
//			tensorIn  = tensorOut;
//			if (!tensorId)
//				tensorOut = l2_tensor_scratch;
//			else
//				tensorOut = l2_tensor_scratch + L2_TENSOR_IO_SIZE - (CONV17_OUT_DIM*CONV17_OUT_DIM*CONV17_OUT_CH);
//			tensorId = !tensorId;
//
//			/*Layer 17	Conv Point/ s1
//			*pointwise
//			*Cycle =
//			*/
//			arm_convolve_HWC_asym_uint8(tensorIn, CONV17_IM_DIM, CONV17_IM_CH,
//										  conv17_wt, CONV17_W_Z, CONV17_IN_Z, CONV17_OUT_Z, CONV17_M_ZERO, CONV17_N_ZERO,
//										  CONV17_OUT_CH, CONV17_KER_DIM,
//										  CONV17_L_PADDING, CONV17_R_PADDING, CONV17_T_PADDING, CONV17_B_PADDING, CONV17_STRIDE, conv17_bias,
//										  tensorOut, CONV17_OUT_DIM, l1_tensor_scratch, NULL);
//
//			USR_GET_CC_TIMESTAMP(cpu_cycles[layerId]);
//			USR_CHECKSUM(tensorOut,CONV17_OUT_DIM*CONV17_OUT_DIM*CONV17_OUT_CH,layerId); layerId++;
//
//			tensorIn  = tensorOut;
//			if (!tensorId)
//				tensorOut = l2_tensor_scratch;
//			else
//				tensorOut = l2_tensor_scratch + L2_TENSOR_IO_SIZE - (CONV18_OUT_DIM*CONV18_OUT_DIM*CONV18_OUT_CH);
//			tensorId = !tensorId;
//
//			/*Layer 18	Conv dw/ s1
//			*dephtwise
//			*Cycle =
//			*/
//			arm_depthwise_separable_conv_HWC_asym_uint8(tensorIn, CONV18_IM_DIM, CONV18_IM_CH,
//										  conv18_wt, CONV18_W_Z, CONV18_IN_Z, CONV18_OUT_Z, CONV18_M_ZERO, CONV18_N_ZERO,
//										  CONV18_OUT_CH, CONV18_KER_DIM,
//										  CONV18_L_PADDING, CONV18_R_PADDING, CONV18_T_PADDING, CONV18_B_PADDING, CONV18_STRIDE, conv18_bias,
//										  tensorOut, CONV18_OUT_DIM, l1_tensor_scratch, NULL);
//
//			USR_GET_CC_TIMESTAMP(cpu_cycles[layerId]);
//			USR_CHECKSUM(tensorOut,CONV18_OUT_DIM*CONV18_OUT_DIM*CONV18_OUT_CH,layerId); layerId++;
//			tensorIn  = tensorOut;
//			if (!tensorId)
//				tensorOut = l2_tensor_scratch;
//			else
//				tensorOut = l2_tensor_scratch + L2_TENSOR_IO_SIZE - (CONV19_OUT_DIM*CONV19_OUT_DIM*CONV19_OUT_CH);
//			tensorId = !tensorId;
//
//			/*Layer 19	Conv Point/ s1
//			*pointwise
//			*Cycle =
//			*/
//			arm_convolve_HWC_asym_uint8(tensorIn, CONV19_IM_DIM, CONV19_IM_CH,
//										  conv19_wt, CONV19_W_Z, CONV19_IN_Z, CONV19_OUT_Z, CONV19_M_ZERO, CONV19_N_ZERO,
//										  CONV19_OUT_CH, CONV19_KER_DIM,
//										  CONV19_L_PADDING, CONV19_R_PADDING, CONV19_T_PADDING, CONV19_B_PADDING, CONV19_STRIDE, conv19_bias,
//										  tensorOut, CONV19_OUT_DIM, l1_tensor_scratch, NULL);
//
//			USR_GET_CC_TIMESTAMP(cpu_cycles[layerId]);
//			USR_CHECKSUM(tensorOut,CONV19_OUT_DIM*CONV19_OUT_DIM*CONV19_OUT_CH,layerId); layerId++;
//
//			tensorIn  = tensorOut;
//			if (!tensorId)
//				tensorOut = l2_tensor_scratch;
//			else
//				tensorOut = l2_tensor_scratch + L2_TENSOR_IO_SIZE - (CONV20_OUT_DIM*CONV20_OUT_DIM*CONV20_OUT_CH);
//			tensorId = !tensorId;
//
//			/*Layer 20	Conv dw/ s1
//			*dephtwise
//			*Cycle =
//			*/
//			arm_depthwise_separable_conv_HWC_asym_uint8(tensorIn, CONV20_IM_DIM, CONV20_IM_CH,
//										  conv20_wt, CONV20_W_Z, CONV20_IN_Z, CONV20_OUT_Z, CONV20_M_ZERO, CONV20_N_ZERO,
//										  CONV20_OUT_CH, CONV20_KER_DIM,
//										  CONV20_L_PADDING, CONV20_R_PADDING, CONV20_T_PADDING, CONV20_B_PADDING, CONV20_STRIDE, conv20_bias,
//										  tensorOut, CONV20_OUT_DIM, l1_tensor_scratch, NULL);
//
//			USR_GET_CC_TIMESTAMP(cpu_cycles[layerId]);
//			USR_CHECKSUM(tensorOut,CONV20_OUT_DIM*CONV20_OUT_DIM*CONV20_OUT_CH,layerId); layerId++;
//
//			tensorIn  = tensorOut;
//			if (!tensorId)
//				tensorOut = l2_tensor_scratch;
//			else
//				tensorOut = l2_tensor_scratch + L2_TENSOR_IO_SIZE - (CONV21_OUT_DIM*CONV21_OUT_DIM*CONV21_OUT_CH);
//			tensorId = !tensorId;
//
//			/*Layer 21	Conv Point/ s1
//			*pointwise
//			*Cycle =
//			*/
//			arm_convolve_HWC_asym_uint8(tensorIn, CONV21_IM_DIM, CONV21_IM_CH,
//										  conv21_wt, CONV21_W_Z, CONV21_IN_Z, CONV21_OUT_Z, CONV21_M_ZERO, CONV21_N_ZERO,
//										  CONV21_OUT_CH, CONV21_KER_DIM,
//										  CONV21_L_PADDING, CONV21_R_PADDING, CONV21_T_PADDING, CONV21_B_PADDING, CONV21_STRIDE, conv21_bias,
//										  tensorOut, CONV21_OUT_DIM, l1_tensor_scratch, NULL);
//
//			USR_GET_CC_TIMESTAMP(cpu_cycles[layerId]);
//			USR_CHECKSUM(tensorOut,CONV21_OUT_DIM*CONV21_OUT_DIM*CONV21_OUT_CH,layerId); layerId++;
//
//			tensorIn  = tensorOut;
//			if (!tensorId)
//				tensorOut = l2_tensor_scratch;
//			else
//				tensorOut = l2_tensor_scratch + L2_TENSOR_IO_SIZE - (CONV22_OUT_DIM*CONV22_OUT_DIM*CONV22_OUT_CH);
//			tensorId = !tensorId;
//
//			/*Layer 22	Conv dw/ s1
//			*dephtwise
//			*Cycle =
//			*/
//			arm_depthwise_separable_conv_HWC_asym_uint8(tensorIn, CONV22_IM_DIM, CONV22_IM_CH,
//										  conv22_wt, CONV22_W_Z, CONV22_IN_Z, CONV22_OUT_Z, CONV22_M_ZERO, CONV22_N_ZERO,
//										  CONV22_OUT_CH, CONV22_KER_DIM,
//										  CONV22_L_PADDING, CONV22_R_PADDING, CONV22_T_PADDING, CONV22_B_PADDING, CONV22_STRIDE, conv22_bias,
//										  tensorOut, CONV22_OUT_DIM, l1_tensor_scratch, NULL);
//
//			USR_GET_CC_TIMESTAMP(cpu_cycles[layerId]);
//			USR_CHECKSUM(tensorOut,CONV22_OUT_DIM*CONV22_OUT_DIM*CONV22_OUT_CH,layerId); layerId++;
//
//			tensorIn  = tensorOut;
//			if (!tensorId)
//				tensorOut = l2_tensor_scratch;
//			else
//				tensorOut = l2_tensor_scratch + L2_TENSOR_IO_SIZE - (CONV23_OUT_DIM*CONV23_OUT_DIM*CONV23_OUT_CH);
//			tensorId = !tensorId;
//
//			/*Layer 23	Conv Point/ s1
//			*pointwise
//			*Cycle =
//			*/
//			arm_convolve_HWC_asym_uint8(tensorIn, CONV23_IM_DIM, CONV23_IM_CH,
//										  conv23_wt, CONV23_W_Z, CONV23_IN_Z, CONV23_OUT_Z, CONV23_M_ZERO, CONV23_N_ZERO,
//										  CONV23_OUT_CH, CONV23_KER_DIM,
//										  CONV23_L_PADDING, CONV23_R_PADDING, CONV23_T_PADDING, CONV23_B_PADDING, CONV23_STRIDE, conv23_bias,
//										  tensorOut, CONV23_OUT_DIM, l1_tensor_scratch, NULL);
//
//			USR_GET_CC_TIMESTAMP(cpu_cycles[layerId]);
//			USR_CHECKSUM(tensorOut,CONV23_OUT_DIM*CONV23_OUT_DIM*CONV23_OUT_CH,layerId); layerId++;
//
//			tensorIn  = tensorOut;
//			if (!tensorId)
//				tensorOut = l2_tensor_scratch;
//			else
//				tensorOut = l2_tensor_scratch + L2_TENSOR_IO_SIZE - (CONV24_OUT_DIM*CONV24_OUT_DIM*CONV24_OUT_CH);
//			tensorId = !tensorId;
//
//			/*Layer 24	Conv dw/ s2
//			*dephtwise
//			*Cycle =
//			*/
//			arm_depthwise_separable_conv_HWC_asym_uint8(tensorIn, CONV24_IM_DIM, CONV24_IM_CH,
//										  conv24_wt, CONV24_W_Z, CONV24_IN_Z, CONV24_OUT_Z, CONV24_M_ZERO, CONV24_N_ZERO,
//										  CONV24_OUT_CH, CONV24_KER_DIM,
//										  CONV24_L_PADDING, CONV24_R_PADDING, CONV24_T_PADDING, CONV24_B_PADDING, CONV24_STRIDE, conv24_bias,
//										  tensorOut, CONV24_OUT_DIM, l1_tensor_scratch, NULL);
//
//			USR_GET_CC_TIMESTAMP(cpu_cycles[layerId]);
//			USR_CHECKSUM(tensorOut,CONV24_OUT_DIM*CONV24_OUT_DIM*CONV24_OUT_CH,layerId); layerId++;
//
//			tensorIn  = tensorOut;
//			if (!tensorId)
//				tensorOut = l2_tensor_scratch;
//			else
//				tensorOut = l2_tensor_scratch + L2_TENSOR_IO_SIZE - (CONV25_OUT_DIM*CONV25_OUT_DIM*CONV25_OUT_CH);
//			tensorId = !tensorId;
//
//			/*Layer 25	Conv Point/ s1
//			*pointwise
//			*Cycle =
//			*/
//			arm_convolve_HWC_asym_uint8(tensorIn, CONV25_IM_DIM, CONV25_IM_CH,
//										  conv25_wt, CONV25_W_Z, CONV25_IN_Z, CONV25_OUT_Z, CONV25_M_ZERO, CONV25_N_ZERO,
//										  CONV25_OUT_CH, CONV25_KER_DIM,
//										  CONV25_L_PADDING, CONV25_R_PADDING, CONV25_T_PADDING, CONV25_B_PADDING, CONV25_STRIDE, conv25_bias,
//										  tensorOut, CONV25_OUT_DIM, l1_tensor_scratch, NULL);
//
//			USR_GET_CC_TIMESTAMP(cpu_cycles[layerId]);
//			USR_CHECKSUM(tensorOut,CONV25_OUT_DIM*CONV25_OUT_DIM*CONV25_OUT_CH,layerId); layerId++;
//
//			tensorIn  = tensorOut;
//			if (!tensorId)
//				tensorOut = l2_tensor_scratch;
//			else
//				tensorOut = l2_tensor_scratch + L2_TENSOR_IO_SIZE - (CONV26_OUT_DIM*CONV26_OUT_DIM*CONV26_OUT_CH);
//			tensorId = !tensorId;
//
//			/*Layer 26	Conv dw/ s1
//			*dephtwise
//			*Cycle =
//			*/
//			arm_depthwise_separable_conv_HWC_asym_uint8(tensorIn, CONV26_IM_DIM, CONV26_IM_CH,
//										  conv26_wt, CONV26_W_Z, CONV26_IN_Z, CONV26_OUT_Z, CONV26_M_ZERO, CONV26_N_ZERO,
//										  CONV26_OUT_CH, CONV26_KER_DIM,
//										  CONV26_L_PADDING, CONV26_R_PADDING, CONV26_T_PADDING, CONV26_B_PADDING, CONV26_STRIDE, conv26_bias,
//										  tensorOut, CONV26_OUT_DIM, l1_tensor_scratch, NULL);
//
//			USR_GET_CC_TIMESTAMP(cpu_cycles[layerId]);
//			USR_CHECKSUM(tensorOut,CONV26_OUT_DIM*CONV26_OUT_DIM*CONV26_OUT_CH,layerId); layerId++;
//
//			tensorIn  = tensorOut;
//			if (!tensorId)
//				tensorOut = l2_tensor_scratch;
//			else
//				tensorOut = l2_tensor_scratch + L2_TENSOR_IO_SIZE - (CONV27_OUT_DIM*CONV27_OUT_DIM*CONV27_OUT_CH);
//			tensorId = !tensorId;
//
//			/*Layer 27	Conv Point/ s1
//			*pointwise
//			*Cycle =
//			*/
//			arm_convolve_HWC_asym_uint8(tensorIn, CONV27_IM_DIM, CONV27_IM_CH,
//										  conv27_wt, CONV27_W_Z, CONV27_IN_Z, CONV27_OUT_Z, CONV27_M_ZERO, CONV27_N_ZERO,
//										  CONV27_OUT_CH, CONV27_KER_DIM,
//										  CONV27_L_PADDING, CONV27_R_PADDING, CONV27_T_PADDING, CONV27_B_PADDING, CONV27_STRIDE, conv27_bias,
//										  tensorOut, CONV27_OUT_DIM, l1_tensor_scratch, NULL);
//
//			USR_GET_CC_TIMESTAMP(cpu_cycles[layerId]);
//			USR_CHECKSUM(tensorOut,CONV27_OUT_DIM*CONV27_OUT_DIM*CONV27_OUT_CH,layerId); layerId++;
//
//			tensorIn  = tensorOut;
//			if (!tensorId)
//				tensorOut = l2_tensor_scratch;
//			else
//				tensorOut = l2_tensor_scratch + L2_TENSOR_IO_SIZE - (FC28_IM_CH);
//			tensorId = !tensorId;
//
//			/*Layer 28	Avgpool */
//			arm_avepool_asym_uint8_HWC(tensorIn, CONV27_OUT_DIM, CONV27_OUT_CH, 5, 0, 5, 1, l1_tensor_scratch, tensorOut);
//
//			USR_GET_CC_TIMESTAMP(cpu_cycles[layerId]);
//			USR_CHECKSUM(tensorOut,FC28_IM_CH,layerId); layerId++;
//
//			tensorIn  = tensorOut;
//			if (!tensorId)
//				tensorOut = l2_tensor_scratch;
//			else
//				tensorOut = l2_tensor_scratch + L2_TENSOR_IO_SIZE - (FC28_OUT_CH);
//			tensorId = !tensorId;
//
//			/*Layer 29	FC
//			*Cycle =
//			*/
//			arm_fully_connected_asym_uint8(tensorIn, fc28_wt, FC28_IM_CH, FC28_OUT_CH, FC28_W_Z, FC28_IN_Z, FC28_OUT_Z, FC28_M_ZERO, FC28_N_ZERO, fc28_bias, tensorOut, l1_tensor_scratch);
//
//			USR_GET_CC_TIMESTAMP(cpu_cycles[layerId]);
//			USR_CHECKSUM(tensorOut,FC28_OUT_CH,layerId); layerId++;
//
//			USR_MEM_BARRIER();
//			int top5[5];
//			int top5_score[5];
//			for (int i=0; i<5; i++){
//				int max=0;
//				for(int ii=0; ii<FC28_OUT_CH; ii++)
//					if (tensorOut[ii] > max){
//						top5[i] = ii;
//						top5_score[i] = tensorOut[ii];
//						max= tensorOut[ii];
//					}
//				tensorOut[top5[i]]=0;
//			}
//			USR_GET_CC_TIMESTAMP(cpu_cycles[layerId]);
//
//			for (int i = 0; i < 5; i++){
//			      printf("%d: %d\n", top5[i], top5_score[i]);
//			}
  }
  /* USER CODE END 3 */
}

void SystemClock_Config(void)
{
  RCC_OscInitTypeDef RCC_OscInitStruct = {0};
  RCC_ClkInitTypeDef RCC_ClkInitStruct = {0};

  /** Supply configuration update enable
  */
  HAL_PWREx_ConfigSupply(PWR_LDO_SUPPLY);

  /** Configure the main internal regulator output voltage
  */
  __HAL_PWR_VOLTAGESCALING_CONFIG(PWR_REGULATOR_VOLTAGE_SCALE1);

  while(!__HAL_PWR_GET_FLAG(PWR_FLAG_VOSRDY)) {}

  __HAL_RCC_SYSCFG_CLK_ENABLE();
  __HAL_PWR_VOLTAGESCALING_CONFIG(PWR_REGULATOR_VOLTAGE_SCALE0);

  while(!__HAL_PWR_GET_FLAG(PWR_FLAG_VOSRDY)) {}

  /** Initializes the RCC Oscillators according to the specified parameters
  * in the RCC_OscInitTypeDef structure.
  */
  RCC_OscInitStruct.OscillatorType = RCC_OSCILLATORTYPE_HSE;
  RCC_OscInitStruct.HSEState = RCC_HSE_ON;
  RCC_OscInitStruct.PLL.PLLState = RCC_PLL_ON;
  RCC_OscInitStruct.PLL.PLLSource = RCC_PLLSOURCE_HSE;
  RCC_OscInitStruct.PLL.PLLM = 1;
  RCC_OscInitStruct.PLL.PLLN = 120;
  RCC_OscInitStruct.PLL.PLLP = 2;
  RCC_OscInitStruct.PLL.PLLQ = 15;
  RCC_OscInitStruct.PLL.PLLR = 2;
  RCC_OscInitStruct.PLL.PLLRGE = RCC_PLL1VCIRANGE_3;
  RCC_OscInitStruct.PLL.PLLVCOSEL = RCC_PLL1VCOWIDE;
  RCC_OscInitStruct.PLL.PLLFRACN = 0;
  if (HAL_RCC_OscConfig(&RCC_OscInitStruct) != HAL_OK)
  {
    Error_Handler();
  }

  /** Initializes the CPU, AHB and APB buses clocks
  */
  RCC_ClkInitStruct.ClockType = RCC_CLOCKTYPE_HCLK|RCC_CLOCKTYPE_SYSCLK
                              |RCC_CLOCKTYPE_PCLK1|RCC_CLOCKTYPE_PCLK2
                              |RCC_CLOCKTYPE_D3PCLK1|RCC_CLOCKTYPE_D1PCLK1;
  RCC_ClkInitStruct.SYSCLKSource = RCC_SYSCLKSOURCE_PLLCLK;
  RCC_ClkInitStruct.SYSCLKDivider = RCC_SYSCLK_DIV1;
  RCC_ClkInitStruct.AHBCLKDivider = RCC_HCLK_DIV2;
  RCC_ClkInitStruct.APB3CLKDivider = RCC_APB3_DIV2;
  RCC_ClkInitStruct.APB1CLKDivider = RCC_APB1_DIV2;
  RCC_ClkInitStruct.APB2CLKDivider = RCC_APB2_DIV2;
  RCC_ClkInitStruct.APB4CLKDivider = RCC_APB4_DIV2;

  if (HAL_RCC_ClockConfig(&RCC_ClkInitStruct, FLASH_LATENCY_4) != HAL_OK)
  {
    Error_Handler();
  }
}

static void MX_ETH_Init(void)
{

   static uint8_t MACAddr[6];

  heth.Instance = ETH;
  MACAddr[0] = 0x00;
  MACAddr[1] = 0x80;
  MACAddr[2] = 0xE1;
  MACAddr[3] = 0x00;
  MACAddr[4] = 0x00;
  MACAddr[5] = 0x00;
  heth.Init.MACAddr = &MACAddr[0];
  heth.Init.MediaInterface = HAL_ETH_RMII_MODE;
  heth.Init.TxDesc = DMATxDscrTab;
  heth.Init.RxDesc = DMARxDscrTab;
  heth.Init.RxBuffLen = 1524;

  if (HAL_ETH_Init(&heth) != HAL_OK)
  {
    Error_Handler();
  }

  memset(&TxConfig, 0 , sizeof(ETH_TxPacketConfig));
  TxConfig.Attributes = ETH_TX_PACKETS_FEATURES_CSUM | ETH_TX_PACKETS_FEATURES_CRCPAD;
  TxConfig.ChecksumCtrl = ETH_CHECKSUM_IPHDR_PAYLOAD_INSERT_PHDR_CALC;
  TxConfig.CRCPadCtrl = ETH_CRC_PAD_INSERT;

}

static void MX_USART3_UART_Init(void)
{

  huart3.Instance = USART3;
  huart3.Init.BaudRate = 115200;
  huart3.Init.WordLength = UART_WORDLENGTH_8B;
  huart3.Init.StopBits = UART_STOPBITS_1;
  huart3.Init.Parity = UART_PARITY_NONE;
  huart3.Init.Mode = UART_MODE_TX_RX;
  huart3.Init.HwFlowCtl = UART_HWCONTROL_NONE;
  huart3.Init.OverSampling = UART_OVERSAMPLING_16;
  huart3.Init.OneBitSampling = UART_ONE_BIT_SAMPLE_DISABLE;
  huart3.Init.ClockPrescaler = UART_PRESCALER_DIV1;
  huart3.AdvancedInit.AdvFeatureInit = UART_ADVFEATURE_NO_INIT;
  if (HAL_UART_Init(&huart3) != HAL_OK)
  {
    Error_Handler();
  }
  if (HAL_UARTEx_SetTxFifoThreshold(&huart3, UART_TXFIFO_THRESHOLD_1_8) != HAL_OK)
  {
    Error_Handler();
  }
  if (HAL_UARTEx_SetRxFifoThreshold(&huart3, UART_RXFIFO_THRESHOLD_1_8) != HAL_OK)
  {
    Error_Handler();
  }
  if (HAL_UARTEx_DisableFifoMode(&huart3) != HAL_OK)
  {
    Error_Handler();
  }

}

static void MX_USB_OTG_FS_PCD_Init(void)
{

  hpcd_USB_OTG_FS.Instance = USB_OTG_FS;
  hpcd_USB_OTG_FS.Init.dev_endpoints = 9;
  hpcd_USB_OTG_FS.Init.speed = PCD_SPEED_FULL;
  hpcd_USB_OTG_FS.Init.dma_enable = DISABLE;
  hpcd_USB_OTG_FS.Init.phy_itface = PCD_PHY_EMBEDDED;
  hpcd_USB_OTG_FS.Init.Sof_enable = ENABLE;
  hpcd_USB_OTG_FS.Init.low_power_enable = DISABLE;
  hpcd_USB_OTG_FS.Init.lpm_enable = DISABLE;
  hpcd_USB_OTG_FS.Init.battery_charging_enable = ENABLE;
  hpcd_USB_OTG_FS.Init.vbus_sensing_enable = ENABLE;
  hpcd_USB_OTG_FS.Init.use_dedicated_ep1 = DISABLE;
  if (HAL_PCD_Init(&hpcd_USB_OTG_FS) != HAL_OK)
  {
    Error_Handler();
  }

}

static void MX_GPIO_Init(void)
{
  GPIO_InitTypeDef GPIO_InitStruct = {0};

  /* GPIO Ports Clock Enable */
  __HAL_RCC_GPIOC_CLK_ENABLE();
  __HAL_RCC_GPIOH_CLK_ENABLE();
  __HAL_RCC_GPIOA_CLK_ENABLE();
  __HAL_RCC_GPIOB_CLK_ENABLE();
  __HAL_RCC_GPIOD_CLK_ENABLE();
  __HAL_RCC_GPIOG_CLK_ENABLE();

  /*Configure GPIO pin Output Level */
  HAL_GPIO_WritePin(GPIOB, LD3_Pin|LD2_Pin, GPIO_PIN_RESET);

  /*Configure GPIO pin Output Level */
  HAL_GPIO_WritePin(USB_PowerSwitchOn_GPIO_Port, USB_PowerSwitchOn_Pin, GPIO_PIN_RESET);

  /*Configure GPIO pin : USER_Btn_Pin */
  GPIO_InitStruct.Pin = USER_Btn_Pin;
  GPIO_InitStruct.Mode = GPIO_MODE_IT_RISING;
  GPIO_InitStruct.Pull = GPIO_NOPULL;
  HAL_GPIO_Init(USER_Btn_GPIO_Port, &GPIO_InitStruct);

  /*Configure GPIO pins : LD3_Pin LD2_Pin */
  GPIO_InitStruct.Pin = LD3_Pin|LD2_Pin;
  GPIO_InitStruct.Mode = GPIO_MODE_OUTPUT_PP;
  GPIO_InitStruct.Pull = GPIO_NOPULL;
  GPIO_InitStruct.Speed = GPIO_SPEED_FREQ_LOW;
  HAL_GPIO_Init(GPIOB, &GPIO_InitStruct);

  /*Configure GPIO pin : USB_PowerSwitchOn_Pin */
  GPIO_InitStruct.Pin = USB_PowerSwitchOn_Pin;
  GPIO_InitStruct.Mode = GPIO_MODE_OUTPUT_PP;
  GPIO_InitStruct.Pull = GPIO_NOPULL;
  GPIO_InitStruct.Speed = GPIO_SPEED_FREQ_LOW;
  HAL_GPIO_Init(USB_PowerSwitchOn_GPIO_Port, &GPIO_InitStruct);

  /*Configure GPIO pin : USB_OverCurrent_Pin */
  GPIO_InitStruct.Pin = USB_OverCurrent_Pin;
  GPIO_InitStruct.Mode = GPIO_MODE_INPUT;
  GPIO_InitStruct.Pull = GPIO_NOPULL;
  HAL_GPIO_Init(USB_OverCurrent_GPIO_Port, &GPIO_InitStruct);

}

void Error_Handler(void)
{
  __disable_irq();
  while (1)
  {
  }
}
